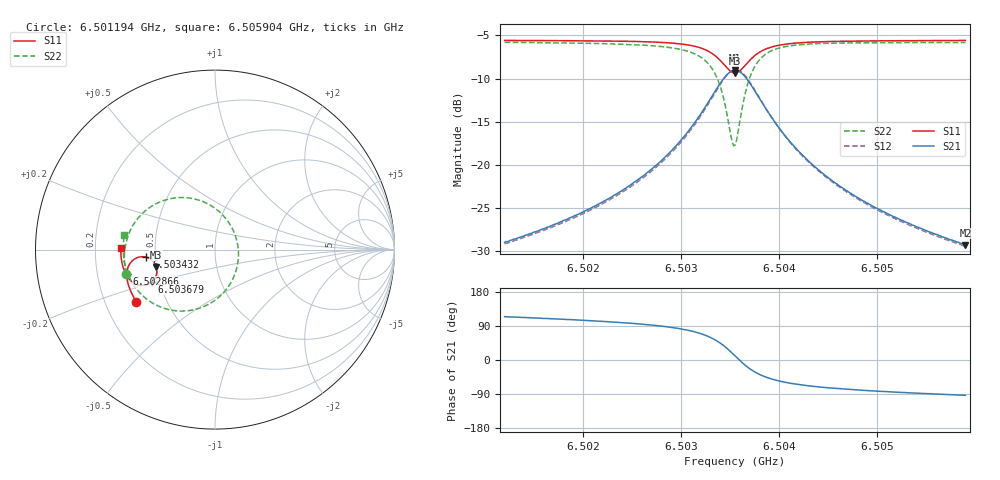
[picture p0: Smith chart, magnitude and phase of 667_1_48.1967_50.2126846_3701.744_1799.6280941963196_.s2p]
#  HZ  S  RI  R  50.00
! Rohde & Schwarz Vector Network Analyzer
! Rohde-Schwarz,ZNB20-2Port,1311601062101988,3.16
! Created: UTC 3/20/2024, 12:05:58 PM
! freq[Hz]  re:S11  im:S11  re:S21  im:S21  re:S12  im:S12  re:S22  im:S22
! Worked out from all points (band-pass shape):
!   401 points, 6.501194 GHz to 6.505904 GHz, reference 50 ohm
!   highest |S21| = -9.03 dB at 6.503549 GHz (marker M1); lowest = -29.2 dB at 6.505904 GHz (marker M2)
!   |S21| within 3 dB of the highest: 6.503314 GHz to 6.503786 GHz (471.5 kHz wide, 0.00725 % of centre)
!   lowest |S11| = -9.3 dB at 6.503549 GHz (marker M3), VSWR 2.03, Z = 25 - j5.46 ohm
!   |S11| at or under -10 dB: nowhere
!   |S22| runs from -17.8 to -5.8 dB; largest |S21 - S12| = 0.014
!   S11 on the Smith chart (normalised r, x): 6.501194 GHz: 0.34, -0.27; 6.502866 GHz: 0.33, -0.12; 6.503432 GHz: 0.45, -0.04; 6.503679 GHz: 0.46, -0.19; 6.505904 GHz: 0.31, +0.01
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6.5011943e9  -0.4381 -0.2914  -0.0147 0.0325  -0.0127 0.0326  -0.4958 -0.1336
6.5019832e9  -0.4702 -0.2309  -0.0137 0.0514  -0.0109 0.0508  -0.5051 -0.0456
6.5023953e9  -0.4837 -0.193  -0.0106 0.0706  -0.00717 0.0692  -0.5004 0.016
6.5027721e9  -0.4913 -0.1495  -0.000274 0.103  0.00396 0.1005  -0.4771 0.0963
6.5028663e9  -0.4916 -0.136  0.00569 0.1157  0.01 0.1126  -0.4642 0.1231
6.5030665e9  -0.4855 -0.1014  0.0309 0.1524  0.0351 0.1473  -0.412 0.194
6.5032078e9  -0.4689 -0.0711  0.0726 0.1874  0.0759 0.1809  -0.3316 0.254
6.5033373e9  -0.4311 -0.0443  0.1529 0.2137  0.1542 0.2065  -0.1856 0.2901
6.5034315e9  -0.3825 -0.0421  0.248 0.1959  0.2485 0.1901  -0.0211 0.2442
6.5035139e9  -0.338 -0.0735  0.3289 0.1177  0.3319 0.1123  0.1089 0.0902
6.5035493e9  -0.3269 -0.0966  0.347 0.067  0.3512 0.0599  0.1305 -0.00564
6.5035728e9  -0.3238 -0.1136  0.3505 0.0306  0.355 0.0224  0.1276 -0.0722
6.5036081e9  -0.3262 -0.1391  0.3427 -0.0216  0.3463 -0.0321  0.0987 -0.165
6.5036788e9  -0.3496 -0.1779  0.2935 -0.1009  0.293 -0.1143  -0.0171 -0.2938
6.503773e9  -0.3923 -0.1983  0.2117 -0.1455  0.2058 -0.1573  -0.184 -0.3424
6.5038436e9  -0.4195 -0.1983  0.1618 -0.151  0.1543 -0.1599  -0.2769 -0.3293
6.503926e9  -0.4433 -0.191  0.1198 -0.1445  0.1115 -0.1507  -0.3511 -0.2962
6.5040909e9  -0.4733 -0.1696  0.0699 -0.1224  0.0626 -0.1252  -0.4319 -0.2264
6.5043382e9  -0.496 -0.1382  0.0358 -0.0944  0.0302 -0.0951  -0.4811 -0.1462
6.5046796e9  -0.5112 -0.1009  0.0161 -0.0698  0.0123 -0.0695  -0.5041 -0.0715
6.5051271e9  -0.5209 -0.0582  0.00554 -0.0514  0.00282 -0.0507  -0.5113 -0.00355
6.5059042e9  -0.526 0.00851  -0.00191 -0.0345  -0.00346 -0.0338  -0.5047 0.0826
